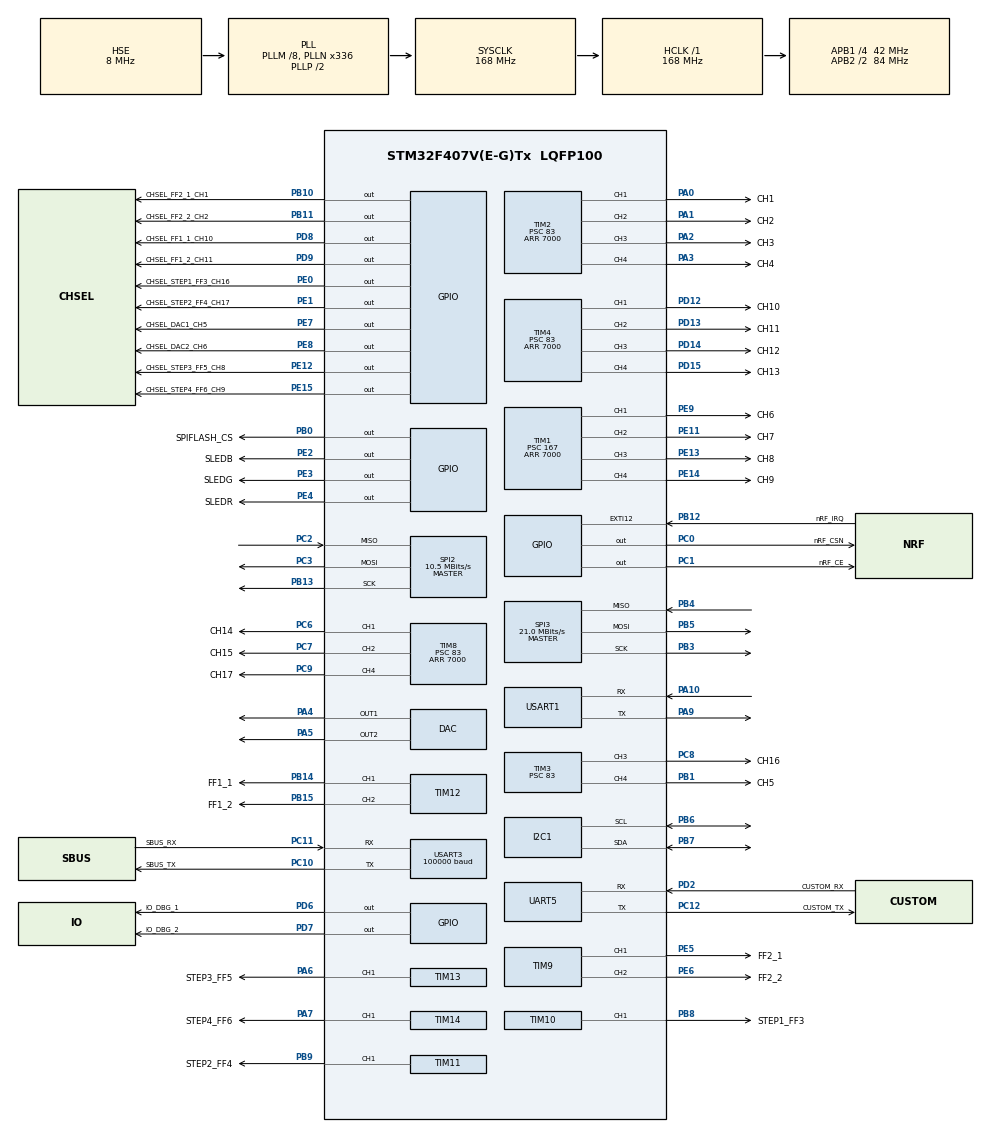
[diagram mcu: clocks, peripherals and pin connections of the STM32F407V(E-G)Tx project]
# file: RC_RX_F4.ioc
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AL94.I-CUBE-USBD-COMPOSITE.1.0.3._USBD_USE_CDC_ACM=true
AL94.I-CUBE-USBD-COMPOSITE.1.0.3._USBD_USE_DFU=true
AL94.I-CUBE-USBD-COMPOSITE.1.0.3._USBD_USE_HID_CUSTOM=true
AL94.I-CUBE-USBD-COMPOSITE.1.0.3._USBD_USE_MSC=true
Mcu.Family=STM32F4
Mcu.Name=STM32F407V(E-G)Tx
Mcu.Package=LQFP100
NVIC.EXTI15_10_IRQn=true\:4\:0\:true\:false\:true\:true\:true\:true
NVIC.PriorityGroup=NVIC_PRIORITYGROUP_4
NVIC.TIM6_DAC_IRQn=true\:0\:0\:false\:false\:true\:true\:true\:true
NVIC.UART5_IRQn=true\:3\:0\:true\:false\:true\:true\:true\:true
NVIC.USART1_IRQn=true\:3\:0\:true\:false\:true\:true\:true\:true
NVIC.USART3_IRQn=true\:3\:0\:true\:false\:true\:true\:true\:true
PA0-WKUP.GPIO_Label=CH1
PA0-WKUP.Signal=S_TIM2_CH1_ETR
PA1.GPIO_Label=CH2
PA1.Signal=S_TIM2_CH2
PA10.Mode=Asynchronous
PA10.Signal=USART1_RX
PA13.Mode=Serial_Wire
PA13.Signal=SYS_JTMS-SWDIO
PA14.Mode=Serial_Wire
PA14.Signal=SYS_JTCK-SWCLK
PA2.GPIO_Label=CH3
PA2.Signal=S_TIM2_CH3
PA3.GPIO_Label=CH4
PA3.Signal=S_TIM2_CH4
PA4.Signal=COMP_DAC1_group
PA5.Signal=COMP_DAC2_group
PA6.GPIO_Label=STEP3_FF5
PA6.Signal=S_TIM13_CH1
PA7.GPIO_Label=STEP4_FF6
PA7.Signal=S_TIM14_CH1
PA9.Mode=Asynchronous
PA9.Signal=USART1_TX
PB0.GPIO_Label=SPIFLASH_CS
PB0.GPIO_Speed=GPIO_SPEED_FREQ_VERY_HIGH
PB0.PinState=GPIO_PIN_SET
PB0.Signal=GPIO_Output
PB1.GPIO_Label=CH5
PB1.Signal=S_TIM3_CH4
PB10.GPIO_Label=CHSEL_FF2_1_CH1
PB10.Signal=GPIO_Output
PB11.GPIO_Label=CHSEL_FF2_2_CH2
PB11.Signal=GPIO_Output
PB12.GPIO_Label=nRF_IRQ
PB12.GPIO_ModeDefaultEXTI=GPIO_MODE_IT_FALLING
PB12.Signal=GPXTI12
PB13.Mode=Full_Duplex_Master
PB13.Signal=SPI2_SCK
PB14.GPIO_Label=FF1_1
PB14.Signal=S_TIM12_CH1
PB15.GPIO_Label=FF1_2
PB15.Signal=S_TIM12_CH2
PB3.Mode=Full_Duplex_Master
PB3.Signal=SPI3_SCK
PB4.Mode=Full_Duplex_Master
PB4.Signal=SPI3_MISO
PB5.Mode=Full_Duplex_Master
PB5.Signal=SPI3_MOSI
PB6.Mode=I2C
PB6.Signal=I2C1_SCL
PB7.Mode=I2C
PB7.Signal=I2C1_SDA
PB8.GPIO_Label=STEP1_FF3
PB8.Signal=S_TIM10_CH1
PB9.GPIO_Label=STEP2_FF4
PB9.Signal=S_TIM11_CH1
PC0.GPIO_Label=nRF_CSN
PC0.GPIO_Speed=GPIO_SPEED_FREQ_VERY_HIGH
PC0.PinState=GPIO_PIN_SET
PC0.Signal=GPIO_Output
PC1.GPIO_Label=nRF_CE
PC1.GPIO_Speed=GPIO_SPEED_FREQ_VERY_HIGH
PC1.Signal=GPIO_Output
PC10.GPIO_Label=SBUS_TX
PC10.Mode=Asynchronous
PC10.Signal=USART3_TX
PC11.GPIO_Label=SBUS_RX
PC11.Mode=Asynchronous
PC11.Signal=USART3_RX
PC12.GPIO_Label=CUSTOM_TX
PC12.Mode=Asynchronous
PC12.Signal=UART5_TX
PC2.Mode=Full_Duplex_Master
PC2.Signal=SPI2_MISO
PC3.Mode=Full_Duplex_Master
PC3.Signal=SPI2_MOSI
PC6.GPIO_Label=CH14
PC6.Signal=S_TIM8_CH1
PC7.GPIO_Label=CH15
PC7.Signal=S_TIM8_CH2
PC8.GPIO_Label=CH16
PC8.Signal=S_TIM3_CH3
PC9.GPIO_Label=CH17
PC9.Signal=S_TIM8_CH4
PD12.GPIO_Label=CH10
PD12.Signal=S_TIM4_CH1
PD13.GPIO_Label=CH11
PD13.Signal=S_TIM4_CH2
PD14.GPIO_Label=CH12
PD14.Signal=S_TIM4_CH3
PD15.GPIO_Label=CH13
PD15.Signal=S_TIM4_CH4
PD2.GPIO_Label=CUSTOM_RX
PD2.Mode=Asynchronous
PD2.Signal=UART5_RX
PD6.GPIO_Label=IO_DBG_1
PD6.GPIO_Speed=GPIO_SPEED_FREQ_VERY_HIGH
PD6.Signal=GPIO_Output
PD7.GPIO_Label=IO_DBG_2
PD7.GPIO_Speed=GPIO_SPEED_FREQ_VERY_HIGH
PD7.Signal=GPIO_Output
PD8.GPIO_Label=CHSEL_FF1_1_CH10
PD8.Signal=GPIO_Output
PD9.GPIO_Label=CHSEL_FF1_2_CH11
PD9.Signal=GPIO_Output
PE0.GPIO_Label=CHSEL_STEP1_FF3_CH16
PE0.Signal=GPIO_Output
PE1.GPIO_Label=CHSEL_STEP2_FF4_CH17
PE1.Signal=GPIO_Output
PE11.GPIO_Label=CH7
PE11.Signal=S_TIM1_CH2
PE12.GPIO_Label=CHSEL_STEP3_FF5_CH8
PE12.Signal=GPIO_Output
PE13.GPIO_Label=CH8
PE13.Signal=S_TIM1_CH3
PE14.GPIO_Label=CH9
PE14.Signal=S_TIM1_CH4
PE15.GPIO_Label=CHSEL_STEP4_FF6_CH9
PE15.Signal=GPIO_Output
PE2.GPIO_Label=SLEDB
PE2.Signal=GPIO_Output
PE3.GPIO_Label=SLEDG
PE3.Signal=GPIO_Output
PE4.GPIO_Label=SLEDR
PE4.Signal=GPIO_Output
PE5.GPIO_Label=FF2_1
PE5.Signal=S_TIM9_CH1
PE6.GPIO_Label=FF2_2
PE6.Signal=S_TIM9_CH2
PE7.GPIO_Label=CHSEL_DAC1_CH5
PE7.Signal=GPIO_Output
PE8.GPIO_Label=CHSEL_DAC2_CH6
PE8.Signal=GPIO_Output
PE9.GPIO_Label=CH6
PE9.Signal=S_TIM1_CH1
PH0-OSC_IN.Mode=HSE-External-Oscillator
PH0-OSC_IN.Signal=RCC_OSC_IN
PH1-OSC_OUT.Mode=HSE-External-Oscillator
PH1-OSC_OUT.Signal=RCC_OSC_OUT
ProjectManager.HeapSize=0x200
ProjectManager.StackSize=0x400
ProjectManager.TargetToolchain=STM32CubeIDE
RCC.48MHZClocksFreq_Value=48000000
RCC.AHBFreq_Value=168000000
RCC.APB1CLKDivider=RCC_HCLK_DIV4
RCC.APB1Freq_Value=42000000
RCC.APB1TimFreq_Value=84000000
RCC.APB2CLKDivider=RCC_HCLK_DIV2
RCC.APB2Freq_Value=84000000
RCC.APB2TimFreq_Value=168000000
RCC.CortexFreq_Value=168000000
RCC.HCLKFreq_Value=168000000
RCC.HSE_VALUE=8000000
RCC.HSI_VALUE=16000000
RCC.LSE_VALUE=32768
RCC.PLLM=8
RCC.PLLN=336
RCC.PLLQ=7
RCC.PLLSourceVirtual=RCC_PLLSOURCE_HSE
RCC.SYSCLKFreq_VALUE=168000000
RCC.SYSCLKSource=RCC_SYSCLKSOURCE_PLLCLK
RCC.VCOOutputFreq_Value=336000000
SH.COMP_DAC1_group.0=DAC_OUT1,DAC_OUT1
SH.COMP_DAC2_group.0=DAC_OUT2,DAC_OUT2
SH.S_TIM10_CH1.0=TIM10_CH1,PWM Generation1 CH1
SH.S_TIM11_CH1.0=TIM11_CH1,PWM Generation1 CH1
SH.S_TIM12_CH1.0=TIM12_CH1,PWM Generation1 CH1
SH.S_TIM12_CH2.0=TIM12_CH2,PWM Generation2 CH2
SH.S_TIM13_CH1.0=TIM13_CH1,PWM Generation1 CH1
SH.S_TIM14_CH1.0=TIM14_CH1,PWM Generation1 CH1
SH.S_TIM1_CH1.0=TIM1_CH1,PWM Generation1 CH1
SH.S_TIM1_CH2.0=TIM1_CH2,PWM Generation2 CH2
SH.S_TIM1_CH3.0=TIM1_CH3,PWM Generation3 CH3
SH.S_TIM1_CH4.0=TIM1_CH4,PWM Generation4 CH4
SH.S_TIM2_CH1_ETR.0=TIM2_CH1,PWM Generation1 CH1
SH.S_TIM2_CH2.0=TIM2_CH2,PWM Generation2 CH2
SH.S_TIM2_CH3.0=TIM2_CH3,PWM Generation3 CH3
SH.S_TIM2_CH4.0=TIM2_CH4,PWM Generation4 CH4
SH.S_TIM3_CH3.0=TIM3_CH3,PWM Generation3 CH3
SH.S_TIM3_CH4.0=TIM3_CH4,PWM Generation4 CH4
SH.S_TIM4_CH1.0=TIM4_CH1,PWM Generation1 CH1
SH.S_TIM4_CH2.0=TIM4_CH2,PWM Generation2 CH2
SH.S_TIM4_CH3.0=TIM4_CH3,PWM Generation3 CH3
SH.S_TIM4_CH4.0=TIM4_CH4,PWM Generation4 CH4
SH.S_TIM8_CH1.0=TIM8_CH1,PWM Generation1 CH1
SH.S_TIM8_CH2.0=TIM8_CH2,PWM Generation2 CH2
SH.S_TIM8_CH4.0=TIM8_CH4,PWM Generation4 CH4
SH.S_TIM9_CH1.0=TIM9_CH1,PWM Generation1 CH1
SH.S_TIM9_CH2.0=TIM9_CH2,PWM Generation2 CH2
SPI2.BaudRatePrescaler=SPI_BAUDRATEPRESCALER_4
SPI2.CalculateBaudRate=10.5 MBits/s
SPI2.Direction=SPI_DIRECTION_2LINES
SPI2.Mode=SPI_MODE_MASTER
SPI2.VirtualType=VM_MASTER
SPI3.CalculateBaudRate=21.0 MBits/s
SPI3.Direction=SPI_DIRECTION_2LINES
SPI3.Mode=SPI_MODE_MASTER
SPI3.VirtualType=VM_MASTER
TIM1.AutoReloadPreload=TIM_AUTORELOAD_PRELOAD_ENABLE
TIM1.Channel-PWM\ Generation1\ CH1=TIM_CHANNEL_1
TIM1.Channel-PWM\ Generation2\ CH2=TIM_CHANNEL_2
TIM1.Channel-PWM\ Generation3\ CH3=TIM_CHANNEL_3
TIM1.Channel-PWM\ Generation4\ CH4=TIM_CHANNEL_4
TIM1.Period=7000
TIM1.Prescaler=167
TIM1.Pulse-PWM\ Generation1\ CH1=1500
TIM1.Pulse-PWM\ Generation2\ CH2=1500
TIM1.Pulse-PWM\ Generation3\ CH3=1500
TIM1.Pulse-PWM\ Generation4\ CH4=1500
TIM10.Channel=TIM_CHANNEL_1
TIM11.Channel=TIM_CHANNEL_1
TIM12.Channel-PWM\ Generation1\ CH1=TIM_CHANNEL_1
TIM12.Channel-PWM\ Generation2\ CH2=TIM_CHANNEL_2
TIM13.Channel=TIM_CHANNEL_1
TIM14.Channel=TIM_CHANNEL_1
TIM2.AutoReloadPreload=TIM_AUTORELOAD_PRELOAD_ENABLE
TIM2.Channel-PWM\ Generation1\ CH1=TIM_CHANNEL_1
TIM2.Channel-PWM\ Generation2\ CH2=TIM_CHANNEL_2
TIM2.Channel-PWM\ Generation3\ CH3=TIM_CHANNEL_3
TIM2.Channel-PWM\ Generation4\ CH4=TIM_CHANNEL_4
TIM2.OCMode_PWM-PWM\ Generation2\ CH2=TIM_OCMODE_PWM1
TIM2.Period=7000
TIM2.Prescaler=83
TIM2.Pulse-PWM\ Generation1\ CH1=1500
TIM2.Pulse-PWM\ Generation2\ CH2=1500
TIM2.Pulse-PWM\ Generation3\ CH3=1500
TIM2.Pulse-PWM\ Generation4\ CH4=1500
TIM3.AutoReloadPreload=TIM_AUTORELOAD_PRELOAD_ENABLE
TIM3.Channel-PWM\ Generation3\ CH3=TIM_CHANNEL_3
TIM3.Channel-PWM\ Generation4\ CH4=TIM_CHANNEL_4
TIM3.Period=7000
TIM3.Prescaler=83
TIM3.Pulse-PWM\ Generation4\ CH4=1500
TIM4.AutoReloadPreload=TIM_AUTORELOAD_PRELOAD_ENABLE
TIM4.Channel-PWM\ Generation1\ CH1=TIM_CHANNEL_1
TIM4.Channel-PWM\ Generation2\ CH2=TIM_CHANNEL_2
TIM4.Channel-PWM\ Generation3\ CH3=TIM_CHANNEL_3
TIM4.Channel-PWM\ Generation4\ CH4=TIM_CHANNEL_4
TIM4.Period=7000
TIM4.Prescaler=83
TIM4.Pulse-PWM\ Generation1\ CH1=1500
TIM4.Pulse-PWM\ Generation2\ CH2=1500
TIM4.Pulse-PWM\ Generation3\ CH3=1500
TIM4.Pulse-PWM\ Generation4\ CH4=1500
TIM8.Channel-PWM\ Generation1\ CH1=TIM_CHANNEL_1
TIM8.Channel-PWM\ Generation2\ CH2=TIM_CHANNEL_2
TIM8.Channel-PWM\ Generation4\ CH4=TIM_CHANNEL_4
TIM8.Period=7000
TIM8.Prescaler=83
TIM9.Channel-PWM\ Generation1\ CH1=TIM_CHANNEL_1
TIM9.Channel-PWM\ Generation2\ CH2=TIM_CHANNEL_2
UART5.VirtualMode=Asynchronous
USART1.VirtualMode=VM_ASYNC
USART3.BaudRate=100000
USART3.Parity=PARITY_EVEN
USART3.StopBits=STOPBITS_2
USART3.VirtualMode=VM_ASYNC
VP_CRC_VS_CRC.Mode=CRC_Activate
VP_TIM10_VS_ClockSourceINT.Mode=Enable_Timer
VP_TIM11_VS_ClockSourceINT.Mode=Enable_Timer
VP_TIM13_VS_ClockSourceINT.Mode=Enable_Timer
VP_TIM14_VS_ClockSourceINT.Mode=Enable_Timer
board=custom

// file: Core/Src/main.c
/* USER CODE BEGIN Header */
/**
  ******************************************************************************
  * @file           : main.c
  * @brief          : Main program body
  ******************************************************************************
  * @attention
  *
  * Copyright (c) 2022 STMicroelectronics.
  * All rights reserved.
  *
  * This software is licensed under terms that can be found in the LICENSE file
  * in the root directory of this software component.
  * If no LICENSE file comes with this software, it is provided AS-IS.
  *
  ******************************************************************************
  */
/* USER CODE END Header */
#include "main.h"
#include "crc.h"
#include "dac.h"
#include "i2c.h"
#include "spi.h"
#include "tim.h"
#include "usart.h"
#include "gpio.h"

/* USER CODE BEGIN PV */
uint8_t uart1TXBusy = 0; /**< If this is true we cannot transmit. If false we can transmit */
/* USER CODE END PV */

void SystemClock_Config(void);

/* USER CODE BEGIN 0 */
int _read(int file, char *ptr, int len) {
    HAL_StatusTypeDef hstatus;
    hstatus = HAL_UART_Receive(&huart1, (uint8_t*) ptr, 1, HAL_MAX_DELAY);
    if (hstatus == HAL_OK)
        return 1;
    else
        return 0;
}

int _write(int file, char *ptr, int len) {
	SerialPrint(ptr, len);
	return len;
    HAL_StatusTypeDef hstatus;
    hstatus = HAL_UART_Transmit(&huart1, (uint8_t*) ptr, len, 100);
    if (hstatus == HAL_OK)
        return len;

    if(hstatus == HAL_TIMEOUT){
    	HAL_UART_DeInit(&huart1);
    	MX_USART1_UART_Init();
    }
//    	HAL_UART_AbortTransmit(&huart1); // Discard what was still being transmitted. Wil this work?
    return 0;
}

void __io_putchar(uint8_t ch) {
	HAL_UART_Transmit(&huart1, &ch, 1, 1);
}

/* USER CODE END 0 */

int main(void)
{

  /* MCU Configuration--------------------------------------------------------*/

  /* Reset of all peripherals, Initializes the Flash interface and the Systick. */
  HAL_Init();

  /* Configure the system clock */
  SystemClock_Config();

  /* Initialize all configured peripherals */
  MX_GPIO_Init();
  MX_DAC_Init();
  MX_TIM1_Init();
  MX_TIM2_Init();
  MX_TIM3_Init();
  MX_TIM4_Init();
  MX_USART1_UART_Init();
  MX_UART5_Init();
  MX_USART3_UART_Init();
  MX_CRC_Init();
  MX_TIM9_Init();
  MX_TIM10_Init();
  MX_TIM11_Init();
  MX_TIM12_Init();
  MX_TIM13_Init();
  MX_TIM14_Init();
  MX_SPI2_Init();
  MX_TIM8_Init();
  MX_I2C1_Init();
  MX_SPI3_Init();
  /* USER CODE BEGIN 2 */
  setup(); // Defined in main.cpp
  /* USER CODE END 2 */

  /* Infinite loop */
  /* USER CODE BEGIN WHILE */
  while (1)
  {
	  loop();
    /* USER CODE END WHILE */

  }
}

void SystemClock_Config(void)
{
  RCC_OscInitTypeDef RCC_OscInitStruct = {0};
  RCC_ClkInitTypeDef RCC_ClkInitStruct = {0};

  /** Configure the main internal regulator output voltage
  */
  __HAL_RCC_PWR_CLK_ENABLE();
  __HAL_PWR_VOLTAGESCALING_CONFIG(PWR_REGULATOR_VOLTAGE_SCALE1);

  /** Initializes the RCC Oscillators according to the specified parameters
  * in the RCC_OscInitTypeDef structure.
  */
  RCC_OscInitStruct.OscillatorType = RCC_OSCILLATORTYPE_HSE;
  RCC_OscInitStruct.HSEState = RCC_HSE_ON;
  RCC_OscInitStruct.PLL.PLLState = RCC_PLL_ON;
  RCC_OscInitStruct.PLL.PLLSource = RCC_PLLSOURCE_HSE;
  RCC_OscInitStruct.PLL.PLLM = 8;
  RCC_OscInitStruct.PLL.PLLN = 336;
  RCC_OscInitStruct.PLL.PLLP = RCC_PLLP_DIV2;
  RCC_OscInitStruct.PLL.PLLQ = 7;
  if (HAL_RCC_OscConfig(&RCC_OscInitStruct) != HAL_OK)
  {
    Error_Handler();
  }

  /** Initializes the CPU, AHB and APB buses clocks
  */
  RCC_ClkInitStruct.ClockType = RCC_CLOCKTYPE_HCLK|RCC_CLOCKTYPE_SYSCLK
                              |RCC_CLOCKTYPE_PCLK1|RCC_CLOCKTYPE_PCLK2;
  RCC_ClkInitStruct.SYSCLKSource = RCC_SYSCLKSOURCE_PLLCLK;
  RCC_ClkInitStruct.AHBCLKDivider = RCC_SYSCLK_DIV1;
  RCC_ClkInitStruct.APB1CLKDivider = RCC_HCLK_DIV4;
  RCC_ClkInitStruct.APB2CLKDivider = RCC_HCLK_DIV2;

  if (HAL_RCC_ClockConfig(&RCC_ClkInitStruct, FLASH_LATENCY_5) != HAL_OK)
  {
    Error_Handler();
  }
}

void Error_Handler(void)
{
  /* USER CODE BEGIN Error_Handler_Debug */
  /* User can add his own implementation to report the HAL error return state */
	Error_Handler_CPP(file,line); // Call cpp error handler

  /* USER CODE END Error_Handler_Debug */
}
